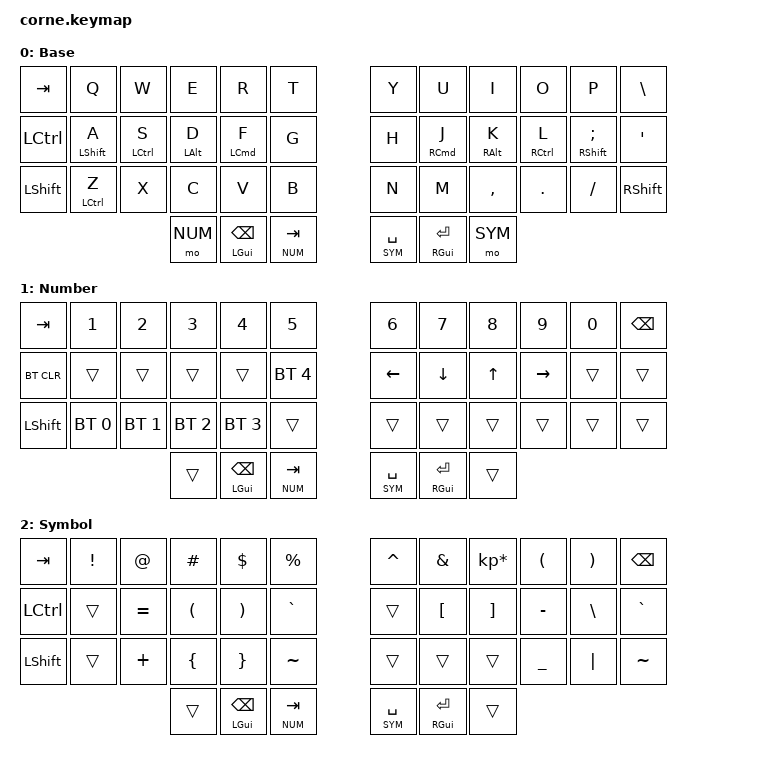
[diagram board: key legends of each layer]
/*
 * Copyright (c) 2020 The ZMK Contributors
 *
 * SPDX-License-Identifier: MIT
 */

#include <behaviors.dtsi>
#include <dt-bindings/zmk/keys.h>
#include <dt-bindings/zmk/bt.h>


// LAYERS
#define DEFAULT 0
#define NUM     1
#define SYM     2

&mt {
  tapping-term-ms = <180>;
  quick-tap-ms = <180>;
  flavor = "tap-preferred";
  require-prior-idle-ms = <125>;
};

&lt {
  tapping-term-ms = <180>;
  quick-tap-ms = <180>;
  flavor = "tap-preferred";
  require-prior-idle-ms = <125>;
};


// -----------------------------------------------------------------------------------------
// |   0  |   1  |   2  |   3  |   4  |   5  |   |   6  |   7  |   8  |   9  |  10  |  11  |
// |  12  |  13  |  14  |  15  |  16  |  17  |   |  18  |  19  |  20  |  21  |  22  |  23  |
// |  24  |  25  |  26  |  27  |  28  |  29  |   |  30  |  31  |  32  |  33  |  34  |  35  |
//                |   36   |   37   |   38   |   |   39   |   40    |   41   |

/ {
  combos {
    compatible = "zmk,combos";
    combo_ctrl_c {
      timeout-ms = <50>;
      key-positions = <26 27>;
      bindings = <&kp LC(C)>;
    };
    combo_esc {
      timeout-ms = <30>;
      require-prior-idle-ms = <75>;
      key-positions = <2 3>;
      bindings = <&kp ESC>;
    };
  };
};

/ {
  behaviors {
    hml: home_row_mod_left {
      compatible = "zmk,behavior-hold-tap";
      #binding-cells = <2>;
      flavor = "balanced";
      require-prior-idle-ms = <150>;
      tapping-term-ms = <200>;
      quick-tap-ms = <150>;
      bindings = <&kp>, <&kp>;
      // List of keys on the right side of the keyboard + TAB + thumbs
      hold-trigger-key-positions = <0 6 7 8 9 10 11 18 19 20 21 22 23 30 31 32 33 34 35 36 37 38 39 40 41>;
      hold-trigger-on-release;
    };
    hmr: home_row_mod_right {
      compatible = "zmk,behavior-hold-tap";
      #binding-cells = <2>;
      flavor = "balanced";
      require-prior-idle-ms = <150>;
      tapping-term-ms = <200>;
      quick-tap-ms = <150>;
      bindings = <&kp>, <&kp>;
      // List of keys on the left side of the keyboard + thumbs
      hold-trigger-key-positions = <0 1 2 3 4 5 12 13 14 15 16 17 24 25 26 27 28 29 36 37 38 39 40 41>;
      hold-trigger-on-release;
    };
  };

  keymap {
    compatible = "zmk,keymap";

    default_layer {
// -----------------------------------------------------------------------------------------
// |  TAB |  Q  |  W  |  E  |  R  |  T  |   |  Y  |  U   |  I  |  O  |  P  |  \   |
// | CTRL |  A  |  S  |  D  |  F  |  G  |   |  H  |  J   |  K  |  L  |  ;  |  '   |
// | SHFT |  Z  |  X  |  C  |  V  |  B  |   |  N  |  M   |  ,  |  .  |  /  | SHFT |
//               | NUM | GUI BSPC | SPC |   | SPC | GUI RET | ALT |
      display-name = "Base";
      bindings = <
   &kp TAB   &kp Q        &kp W         &kp E         &kp R       &kp T   &kp Y &kp U       &kp I       &kp O        &kp P           &kp BSLH
   &kp LCTRL &hml LSHFT A &hml LCTRL S  &hml LALT D   &hml LCMD F &kp G   &kp H &hmr RCMD J &hmr RALT K &hmr RCTRL L &hmr RSHFT SEMI &kp SQT
   &kp LSHFT &mt LCTRL Z  &kp X         &kp C         &kp V       &kp B   &kp N &kp M       &kp COMMA   &kp DOT       &kp FSLH       &kp RSHFT
                      &mo NUM   &mt LGUI BSPC &lt NUM TAB       &lt SYM SPACE &mt RGUI RET &mo SYM
      >;
    };

    num_layer {
// -----------------------------------------------------------------------------------------
// |  TAB |  1  |  2  |  3  |  4  |  5  |   |  6  |  7  |  8  |  9  |  0  | BKSP |
// | BTCLR| BT1 | BT2 | BT3 | BT4 | BT5 |   | LFT | DWN |  UP | RGT |     |      |
// | SHFT |     |     |     |     |     |   |     |     |     |     |     |      |
//                    | GUI |     | SPC |   | ENT |     | ALT |
      display-name = "Number";
      bindings = <
   &kp TAB    &kp N1       &kp N2       &kp N3        &kp N4          &kp N5         &kp N6   &kp N7   &kp N8 &kp N9    &kp N0 &kp BSPC
   &bt BT_CLR &trans       &trans       &trans        &trans          &bt BT_SEL 4   &kp LEFT &kp DOWN &kp UP &kp RIGHT &trans &trans
   &kp LSHFT  &bt BT_SEL 0 &bt BT_SEL 1 &bt BT_SEL 2  &bt BT_SEL 3    &trans         &trans   &trans   &trans &trans    &trans &trans
                      &trans   &mt LGUI BSPC &lt NUM TAB       &lt SYM SPACE &mt RGUI RET &trans
      >;
    };

    sym_layer {
// -----------------------------------------------------------------------------------------
// |  TAB |  !  |  @  |  #  |  $  |  %  |   |  ^  |  &  |  *  |  (  |  )  | BKSP |
// | CTRL |     |  =  |  (  |  )  |     |   |     |  [  |  ]  |  -  |  \  |  `   |
// | SHFT |     |  +  |  {  |  }  |     |   |     |     |     |  _  | "|" |  ~   |
//                    | GUI | BSPC| TAB |   | ENT | SPC | ALT |
      display-name = "Symbol";
      bindings = <
   &kp  TAB  &kp EXCL &kp AT    &kp HASH &kp DLLR &kp PRCNT     &kp CARET &kp AMPS  &kp KP_MULTIPLY &kp LPAR  &kp RPAR &kp BSPC
   &kp LCTRL &trans   &kp EQUAL &kp LPAR &kp RPAR &kp GRAVE     &trans    &kp LBKT  &kp RBKT        &kp MINUS &kp BSLH &kp GRAVE
   &kp LSHFT &trans   &kp PLUS  &kp LBRC &kp RBRC &kp TILDE     &trans    &trans    &trans          &kp UNDER &kp PIPE &kp TILDE
                      &trans    &mt LGUI BSPC   &lt NUM TAB     &lt SYM SPACE   &mt RGUI RET   &trans
     >;
    };

    extra_1 {
      status = "reserved";
    };

    extra_2 {
      status = "reserved";
    };

    extra_3 {
      status = "reserved";
    };
  };
};
